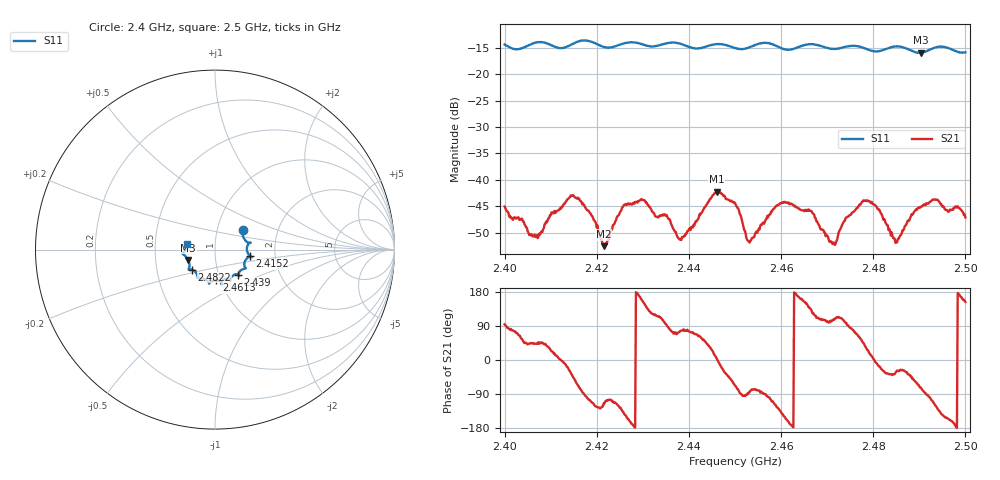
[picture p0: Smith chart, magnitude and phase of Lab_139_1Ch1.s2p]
# Hz S RI R 50
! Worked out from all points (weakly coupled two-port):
!   601 points, 2.4 GHz to 2.5 GHz, reference 50 ohm
!   highest |S21| = -42.26 dB at 2.446 GHz (marker M1); lowest = -52.6 dB at 2.4215 GHz (marker M2)
!   lowest |S11| = -15.9 dB at 2.4903 GHz (marker M3), VSWR 1.38, Z = 36.8 - j4.39 ohm
!   |S11| at or under -10 dB: start of sweep to end of sweep
!   S12 and S22 are empty: the file has one direction only
!   S11 on the Smith chart (normalised r, x): 2.4 GHz: 1.33, +0.31; 2.4152 GHz: 1.48, -0.11; 2.439 GHz: 1.24, -0.36; 2.4613 GHz: 0.96, -0.34; 2.4822 GHz: 0.76, -0.17; 2.5 GHz: 0.73, +0.05
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2.4e9  0.1559 0.1113  -0.000397 0.00557  0 0  0 0
2.406833e9  0.197 0.0379  0.00215 0.002  0 0  0 0
2.415167e9  0.1947 -0.036  0.00436 -0.00532  0 0  0 0
2.416667e9  0.2043 -0.042  0.00108 -0.00613  0 0  0 0
2.4215e9  0.1739 -0.0535  -0.00097 -0.00214  0 0  0 0
2.426333e9  0.17 -0.1026  -0.00486 -0.00315  0 0  0 0
2.43e9  0.1589 -0.1078  -0.00581 0.00281  0 0  0 0
2.433333e9  0.133 -0.1322  -0.00184 0.004  0 0  0 0
2.439e9  0.1283 -0.1391  0.000669 0.00289  0 0  0 0
2.446e9  0.0853 -0.1736  0.00768 0.000582  0 0  0 0
2.45e9  0.0691 -0.1638  0.00232 -0.00556  0 0  0 0
2.453e9  0.0386 -0.1752  0.000119 -0.0026  0 0  0 0
2.461333e9  0.00753 -0.1707  -0.00569 -0.00217  0 0  0 0
2.466667e9  -0.0333 -0.1902  -0.00313 0.0039  0 0  0 0
2.471333e9  -0.0578 -0.164  -0.000714 0.00237  0 0  0 0
2.478e9  -0.0972 -0.1489  0.00468 0.00434  0 0  0 0
2.482167e9  -0.1281 -0.1118  0.00369 -0.00202  0 0  0 0
2.483333e9  -0.1393 -0.1103  0.00266 -0.00201  0 0  0 0
2.485333e9  -0.1476 -0.1102  0.00241 -0.00134  0 0  0 0
2.490333e9  -0.149 -0.058  0.00162 -0.00531  0 0  0 0
2.493667e9  -0.1791 -0.0246  -0.00348 -0.00546  0 0  0 0
2.5e9  -0.1585 0.0331  -0.00393 0.00198  0 0  0 0
